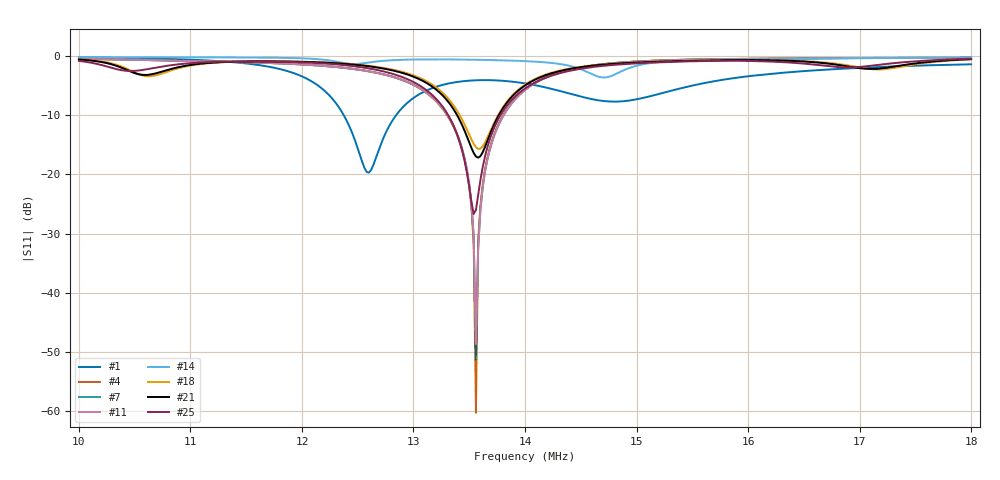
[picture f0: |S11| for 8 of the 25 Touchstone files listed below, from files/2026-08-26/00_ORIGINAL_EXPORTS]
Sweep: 10 MHz to 18 MHz
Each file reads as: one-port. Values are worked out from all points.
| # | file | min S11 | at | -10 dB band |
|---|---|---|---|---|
| 1 | 120series_220shunt_direct_nanovna-sweep-1787781135675.s1p | -19.7 dB | 12.6 MHz | 468.8 kHz wide |
| 2 | 180series_250shunt_direct_nanovna-sweep-1787777939665.s1p | -9.2 dB | 13.32 MHz | - |
| 3 | 300_300_repeat1_nanovna-sweep-1787766779099.s1p | -60.6 dB | 13.56 MHz | 501.8 kHz wide |
| 4 | 300_300_repeat1_nanovna-sweep-1787766788404.s1p | -60.4 dB | 13.56 MHz | 502.1 kHz wide |
| 5 | 300_300_repeat2_nanovna-sweep-1787766813016.s1p | -46.1 dB | 13.56 MHz | 502.5 kHz wide |
| 6 | 300_300_repeat2_nanovna-sweep-1787766822254.s1p | -46.5 dB | 13.56 MHz | 502.5 kHz wide |
| 7 | 300_300_repeat3_nanovna-sweep-1787766838225.s1p | -51.3 dB | 13.56 MHz | 502 kHz wide |
| 8 | 300_300_repeat3_nanovna-sweep-1787766845086.s1p | -50.1 dB | 13.56 MHz | 501.8 kHz wide |
| 9 | 300_300_repeat4_nanovna-sweep-1787766863666.s1p | -54.2 dB | 13.56 MHz | 501.4 kHz wide |
| 10 | 300_300_repeat4_nanovna-sweep-1787766869716.s1p | -50.5 dB | 13.56 MHz | 501.1 kHz wide |
| 11 | 300_300_repeat5_nanovna-sweep-1787766901066.s1p | -48.6 dB | 13.56 MHz | 502.5 kHz wide |
| 12 | 300_300_repeat5_nanovna-sweep-1787766905700.s1p | -47.9 dB | 13.56 MHz | 502.4 kHz wide |
| 13 | 300series_250shunt_direct_nanovna-sweep-1787776954114.s1p | -20.1 dB | 13.28 MHz | 562.9 kHz wide |
| 14 | AIT_T0.12_L0.11_180series_250shunt_nanovna-sweep-1787778435717.s1p | -3.6 dB | 14.7 MHz | - |
| 15 | AIT_T0.13_L0.11_nanovna-sweep-1787773213054.s1p | -4.1 dB | 11.34 MHz | - |
| 16 | AIT_T1.34_nanovna-sweep-1787774403416.s1p | -13.9 dB | 13.6 MHz | 295.1 kHz wide |
| 17 | AIT_T1.36_L1.56_300series_250shunt_nanovna-sweep-1787776221243.s1p | -36.0 dB | 11.34 MHz | 133.1 kHz wide |
| 18 | AIT_T1.40_nanovna-sweep-1787774418012.s1p | -15.7 dB | 13.58 MHz | 344.2 kHz wide |
| 19 | AIT_T1.42_L0.23_180series_250shunt_nanovna-sweep-1787778485255.s1p | -17.7 dB | 17.86 MHz | 392 kHz wide |
| 20 | AIT_T1.42_L0.24_300series_250shunt_nanovna-sweep-1787776065058.s1p | -39.4 dB | 13.56 MHz | 460.5 kHz wide |
| 21 | AIT_T1.45_nanovna-sweep-1787774438016.s1p | -17.2 dB | 13.58 MHz | 373.7 kHz wide |
| 22 | AIT_T1.50_nanovna-sweep-1787774445299.s1p | -18.6 dB | 13.58 MHz | 398.2 kHz wide |
| 23 | AIT_T1.55_nanovna-sweep-1787774453783.s1p | -20.7 dB | 13.56 MHz | 423.7 kHz wide |
| 24 | AIT_T1.60_nanovna-sweep-1787774465329.s1p | -23.1 dB | 13.56 MHz | 445.5 kHz wide |
| 25 | AIT_T1.65_nanovna-sweep-1787774471970.s1p | -26.7 dB | 13.54 MHz | 468.4 kHz wide |
